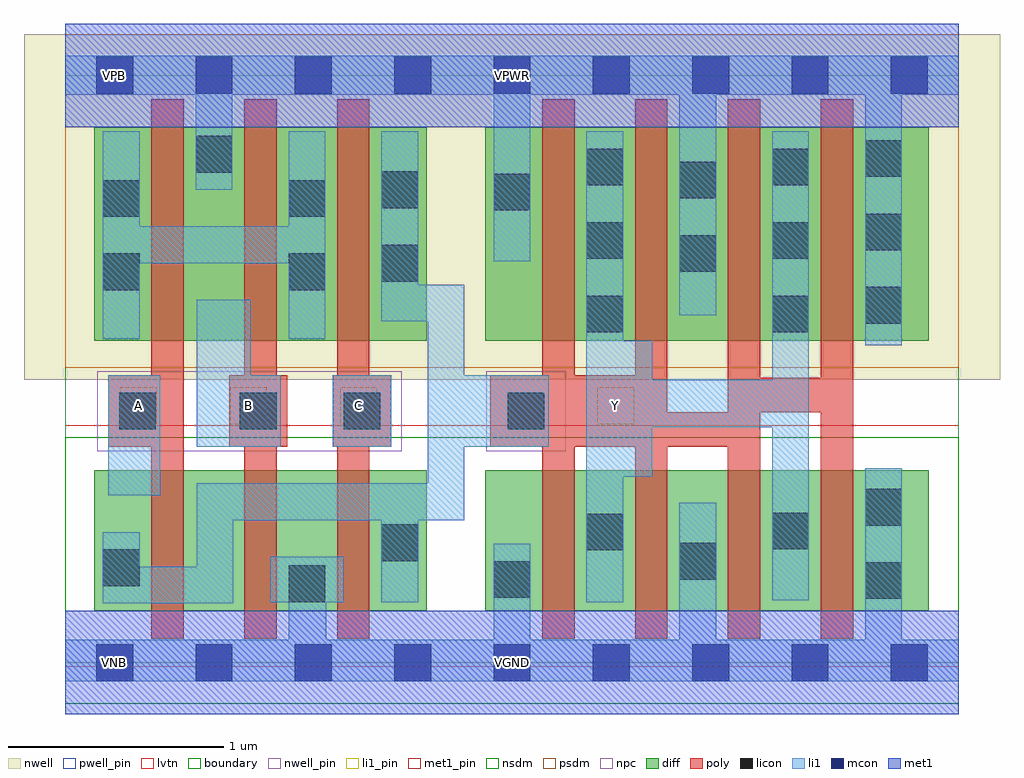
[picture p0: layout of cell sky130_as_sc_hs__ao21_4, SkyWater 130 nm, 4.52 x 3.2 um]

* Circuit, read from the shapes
.subckt sky130_as_sc_hs__ao21_4 A B C VGND VNB VPB VPWR Y
XM1 n1 A n2 VNB sky130_fd_pr__nfet_01v8_lvt w=0.65 l=0.15
XM2 VGND B n1 VNB sky130_fd_pr__nfet_01v8_lvt w=0.65 l=0.15
XM3 n2 C VGND VNB sky130_fd_pr__nfet_01v8_lvt w=0.65 l=0.15
XM4 Y n2 VGND VNB sky130_fd_pr__nfet_01v8_lvt w=0.65 l=0.15 m=4
XM5 VPWR A n3 VPB sky130_fd_pr__pfet_01v8 w=0.99 l=0.15
XM6 n3 B VPWR VPB sky130_fd_pr__pfet_01v8 w=0.99 l=0.15
XM7 n2 C n3 VPB sky130_fd_pr__pfet_01v8 w=0.99 l=0.15
XM8 Y n2 VPWR VPB sky130_fd_pr__pfet_01v8 w=0.99 l=0.15 m=4
.ends

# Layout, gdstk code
import gdstk
lib = gdstk.Library(unit=1e-6, precision=1e-09)
def R(c, l, rs):  # rectangles x0, y0, x1, y1
    for r in rs: c.add(gdstk.rectangle(r[:2], r[2:], *l))
def A(c, l, x, y, w, h, nx, ny, dx, dy):  # array of equal rectangles
    R(c, l, [(x+i*dx, y+j*dy, x+i*dx+w, y+j*dy+h) for i in range(nx) for j in range(ny)])
nwell_pin = (64, 16)
nwell = (64, 20)
diff = (65, 20)
poly = (66, 20)
licon = (66, 44)
li1_pin = (67, 16)
li1 = (67, 20)
mcon = (67, 44)
met1_pin = (68, 16)
met1 = (68, 20)
nsdm = (93, 44)
psdm = (94, 20)
npc = (95, 20)
pwell_pin = (122, 16)
lvtn = (125, 44)
boundary = (235, 4)

sky130_as_sc_hs__ao21_4 = lib.new_cell('sky130_as_sc_hs__ao21_4')
R(sky130_as_sc_hs__ao21_4, nwell_pin, [(0.145,2.635,0.315,2.805)])
R(sky130_as_sc_hs__ao21_4, nwell, [(-0.19,1.31,4.33,2.91)])
R(sky130_as_sc_hs__ao21_4, diff, [(0.135,0.24,1.675,0.89), (1.945,0.24,4,0.89), (0.135,1.49,1.675,2.48), (1.945,1.49,4,2.48)])
A(sky130_as_sc_hs__ao21_4, poly, 0.4, 0.11, 0.15, 0.89, 3, 1, 0.43, 0)
A(sky130_as_sc_hs__ao21_4, poly, 2.21, 0.11, 0.15, 0.89, 3, 1, 0.43, 0)
A(sky130_as_sc_hs__ao21_4, poly, 0.4, 1.33, 0.15, 1.28, 3, 1, 0.43, 0)
R(sky130_as_sc_hs__ao21_4, poly, [(3.5,0.11,3.65,1.16), (0.2,1,0.55,1.33), (0.76,1,1.03,1.33), (1.24,1,1.51,1.33), (1.97,1,3.22,1.16), (1.97,1.16,2.79,1.33), (3.07,1.16,3.65,1.32), (3.07,1.32,3.22,2.61), (3.5,1.32,3.65,2.61), (2.21,1.33,2.36,2.61), (2.64,1.33,2.79,2.61)])
A(sky130_as_sc_hs__ao21_4, licon, 2.415, 1.53, 0.17, 0.17, 1, 3, 0, 0.34)
A(sky130_as_sc_hs__ao21_4, licon, 3.275, 1.53, 0.17, 0.17, 1, 3, 0, 0.34)
A(sky130_as_sc_hs__ao21_4, licon, 3.705, 1.57, 0.17, 0.17, 1, 3, 0, 0.34)
R(sky130_as_sc_hs__ao21_4, licon, [(1.035,0.28,1.205,0.45), (3.705,0.295,3.875,0.465), (1.985,0.3,2.155,0.47), (0.175,0.355,0.345,0.525), (2.845,0.385,3.015,0.555), (1.465,0.47,1.635,0.64), (2.415,0.52,2.585,0.69), (3.275,0.525,3.445,0.695), (3.705,0.635,3.875,0.805), (0.25,1.08,0.42,1.25), (0.81,1.08,0.98,1.25), (1.29,1.08,1.46,1.25), (2.05,1.08,2.22,1.25), (0.175,1.725,0.345,1.895), (1.035,1.725,1.205,1.895), (1.465,1.765,1.635,1.935), (2.845,1.81,3.015,1.98), (0.175,2.065,0.345,2.235), (1.035,2.065,1.205,2.235), (1.985,2.095,2.155,2.265), (1.465,2.105,1.635,2.275), (2.845,2.15,3.015,2.32), (0.605,2.27,0.775,2.44)])
A(sky130_as_sc_hs__ao21_4, li1_pin, 0.255, 1.105, 0.17, 0.17, 3, 1, 0.51, 0)
R(sky130_as_sc_hs__ao21_4, li1_pin, [(2.465,1.105,2.635,1.275)])
R(sky130_as_sc_hs__ao21_4, li1, [(0,-0.085,4.14,0.105), (1.035,0.105,1.21,0.28), (1.985,0.105,2.155,0.55), (2.845,0.105,3.015,0.74), (3.705,0.105,3.875,0.9), (0.175,0.275,0.78,0.445), (0.95,0.28,1.29,0.49), (1.465,0.28,1.635,0.66), (2.415,0.28,2.585,0.86), (3.275,0.29,3.445,1.09), (0.175,0.445,0.345,0.605), (0.61,0.445,0.78,0.66), (0.61,0.66,1.85,0.83), (0.2,0.775,0.44,1.33), (1.68,0.83,1.85,1), (2.415,0.86,2.72,1.09), (0.61,1,1,1.33), (1.24,1,1.51,1.33), (1.68,1,2.24,1.33), (2.415,1.09,3.445,1.31), (2.415,1.31,2.72,1.49), (3.275,1.31,3.445,2.46), (0.61,1.33,0.86,1.68), (1.68,1.33,1.85,1.58), (3.705,1.47,3.875,2.63), (2.415,1.49,2.585,2.46), (0.175,1.5,0.345,1.85), (1.035,1.5,1.205,1.85), (1.465,1.58,1.85,1.75), (2.845,1.61,3.015,2.63), (1.465,1.75,1.635,2.46), (0.175,1.85,1.205,2.02), (1.985,1.86,2.155,2.63), (0.175,2.02,0.345,2.46), (1.035,2.02,1.205,2.46), (0.605,2.19,0.775,2.63), (0,2.63,4.14,2.81)])
A(sky130_as_sc_hs__ao21_4, mcon, 0.145, -0.085, 0.17, 0.17, 9, 2, 0.46, 2.72)
R(sky130_as_sc_hs__ao21_4, met1_pin, [(0,-0.24,4.14,0.24), (0.145,-0.085,0.315,0.085), (0,2.48,4.14,2.96), (0.145,2.635,0.315,2.805)])
R(sky130_as_sc_hs__ao21_4, met1, [(0,-0.24,4.14,0.24), (0,2.48,4.14,2.96)])
R(sky130_as_sc_hs__ao21_4, nsdm, [(0,-0.19,4.14,1.045)])
R(sky130_as_sc_hs__ao21_4, psdm, [(0,1.365,4.14,2.91)])
R(sky130_as_sc_hs__ao21_4, npc, [(0.15,0.98,1.56,1.35), (1.95,0.98,2.32,1.35)])
R(sky130_as_sc_hs__ao21_4, pwell_pin, [(0.145,-0.085,0.315,0.085)])
R(sky130_as_sc_hs__ao21_4, lvtn, [(0,-0.02,4.14,1.1)])
R(sky130_as_sc_hs__ao21_4, boundary, [(0,0,4.14,2.72)])
sky130_as_sc_hs__ao21_4.add(gdstk.Label('VNB', (0.23,0), layer=64, texttype=59))
sky130_as_sc_hs__ao21_4.add(gdstk.Label('VPB', (0.23,2.72), layer=64, texttype=5))
sky130_as_sc_hs__ao21_4.add(gdstk.Label('A', (0.34,1.19), layer=67, texttype=5))
sky130_as_sc_hs__ao21_4.add(gdstk.Label('B', (0.85,1.19), layer=67, texttype=5))
sky130_as_sc_hs__ao21_4.add(gdstk.Label('C', (1.36,1.19), layer=67, texttype=5))
sky130_as_sc_hs__ao21_4.add(gdstk.Label('Y', (2.55,1.19), layer=67, texttype=5))
sky130_as_sc_hs__ao21_4.add(gdstk.Label('VNB', (0.23,0), layer=64, texttype=59))
sky130_as_sc_hs__ao21_4.add(gdstk.Label('VPB', (0.23,2.72), layer=64, texttype=5))
sky130_as_sc_hs__ao21_4.add(gdstk.Label('VPWR', (2.07,2.72), layer=68, texttype=5))
sky130_as_sc_hs__ao21_4.add(gdstk.Label('VPWR', (0.23,2.72), layer=68, texttype=5))
sky130_as_sc_hs__ao21_4.add(gdstk.Label('VGND', (2.07,0), layer=68, texttype=5))
sky130_as_sc_hs__ao21_4.add(gdstk.Label('VGND', (0.23,0), layer=68, texttype=5))
sky130_as_sc_hs__ao21_4.add(gdstk.Label('A', (0.34,1.19), layer=67, texttype=5))
sky130_as_sc_hs__ao21_4.add(gdstk.Label('B', (0.85,1.19), layer=67, texttype=5))
sky130_as_sc_hs__ao21_4.add(gdstk.Label('C', (1.36,1.19), layer=67, texttype=5))
sky130_as_sc_hs__ao21_4.add(gdstk.Label('Y', (2.55,1.19), layer=67, texttype=5))

lib.write_gds('sky130_as_sc_hs__ao21_4.gds')
